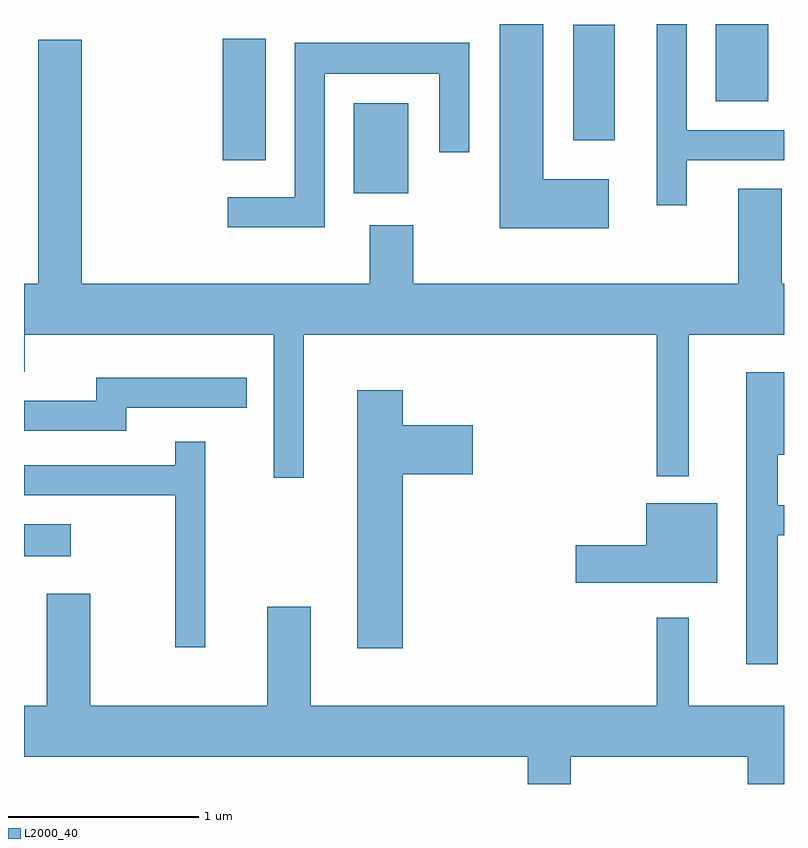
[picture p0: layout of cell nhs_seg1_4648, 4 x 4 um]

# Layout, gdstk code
import gdstk
lib = gdstk.Library(unit=1e-6, precision=1e-09)
def R(c, l, rs):  # rectangles x0, y0, x1, y1
    for r in rs: c.add(gdstk.rectangle(r[:2], r[2:], *l))
def P(c, l, *ps):  # polygons
    for p in ps: c.add(gdstk.Polygon(p, *l))
L2000_40 = (2000, 40)

nhs_seg1_4648 = lib.new_cell('nhs_seg1_4648')
R(nhs_seg1_4648, L2000_40, [(325.611,842.911,325.858,843.079), (327.346,844.821,327.634,845.294), (326.656,844.996,326.884,845.634), (328.501,845.101,328.719,845.709), (329.251,845.306,329.529,845.712)])
P(nhs_seg1_4648, L2000_40, [(329.099,844.996),(329.611,844.996),(329.611,845.154),(329.099,845.154),(329.099,845.712),(328.941,845.712),(328.941,844.758),(329.099,844.758)],
  [(328.689,844.894),(328.344,844.894),(328.344,845.712),(328.116,845.712),(328.116,844.636),(328.689,844.636)],
  [(327.084,844.076),(328.941,844.076),(328.941,843.333),(329.109,843.333),(329.109,844.076),(329.611,844.076),(329.611,844.344),(329.599,844.344),(329.599,844.844),(329.371,844.844),(329.371,844.344),(327.659,844.344),(327.659,844.654),(327.431,844.654),(327.431,844.344),(325.914,844.344),(325.914,845.629),(325.686,845.629),(325.686,844.344),(325.611,844.344),(325.611,843.881),(325.614,843.881),(325.614,844.076),(326.926,844.076),(326.926,843.323),(327.084,843.323)],
  [(327.194,845.451),(327.796,845.451),(327.796,845.038),(327.954,845.038),(327.954,845.614),(327.036,845.614),(327.036,844.799),(326.683,844.799),(326.683,844.641),(327.194,844.641)],
  [(329.579,843.021),(329.611,843.021),(329.611,843.179),(329.579,843.179),(329.579,843.446),(329.611,843.446),(329.611,843.879),(329.411,843.879),(329.411,842.343),(329.579,842.343)],
  [(326.149,843.691),(326.783,843.691),(326.783,843.849),(325.991,843.849),(325.991,843.729),(325.611,843.729),(325.611,843.571),(326.149,843.571)],
  [(327.604,843.341),(327.974,843.341),(327.974,843.599),(327.604,843.599),(327.604,843.784),(327.366,843.784),(327.366,842.426),(327.604,842.426)],
  [(326.564,843.513),(326.406,843.513),(326.406,843.389),(325.611,843.389),(325.611,843.231),(326.406,843.231),(326.406,842.433),(326.564,842.433)],
  [(329.259,843.189),(328.886,843.189),(328.886,842.969),(328.516,842.969),(328.516,842.771),(329.259,842.771)],
  [(328.489,841.856),(329.421,841.856),(329.421,841.712),(329.611,841.712),(329.611,842.124),(329.109,842.124),(329.109,842.588),(328.941,842.588),(328.941,842.124),(327.119,842.124),(327.119,842.644),(326.891,842.644),(326.891,842.124),(325.959,842.124),(325.959,842.714),(325.731,842.714),(325.731,842.124),(325.611,842.124),(325.611,841.856),(328.261,841.856),(328.261,841.712),(328.489,841.712)])

lib.write_gds('nhs_seg1_4648.gds')
